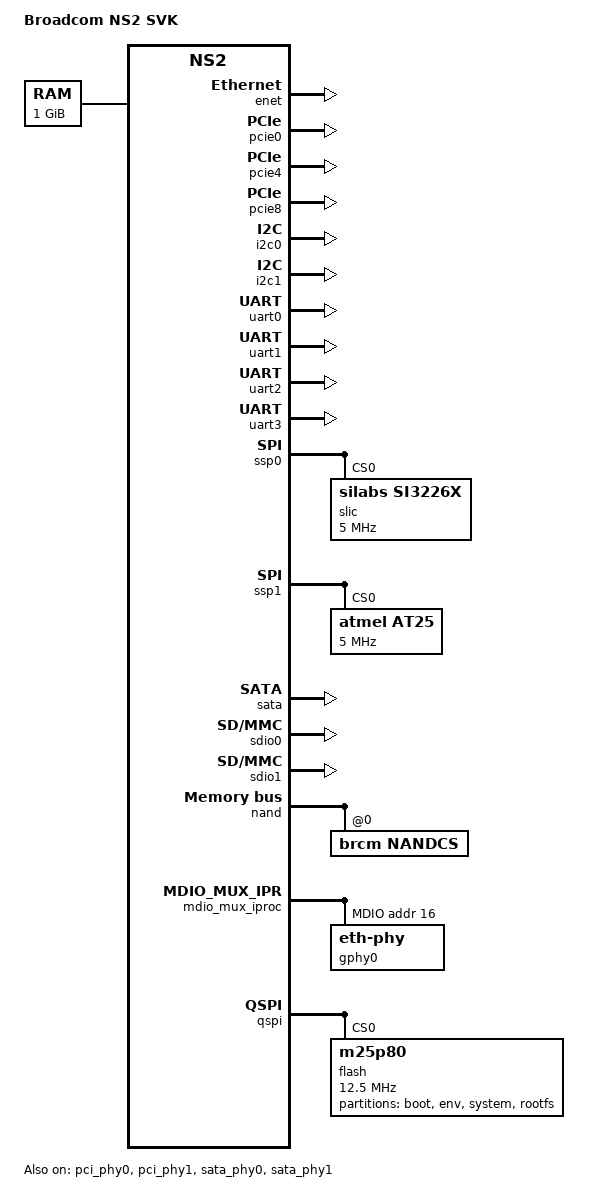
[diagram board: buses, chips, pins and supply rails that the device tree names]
/*
 *  BSD LICENSE
 *
 *  Copyright(c) 2015 Broadcom Corporation.  All rights reserved.
 *
 *  Redistribution and use in source and binary forms, with or without
 *  modification, are permitted provided that the following conditions
 *  are met:
 *
 *    * Redistributions of source code must retain the above copyright
 *      notice, this list of conditions and the following disclaimer.
 *    * Redistributions in binary form must reproduce the above copyright
 *      notice, this list of conditions and the following disclaimer in
 *      the documentation and/or other materials provided with the
 *      distribution.
 *    * Neither the name of Broadcom Corporation nor the names of its
 *      contributors may be used to endorse or promote products derived
 *      from this software without specific prior written permission.
 *
 *  THIS SOFTWARE IS PROVIDED BY THE COPYRIGHT HOLDERS AND CONTRIBUTORS
 *  "AS IS" AND ANY EXPRESS OR IMPLIED WARRANTIES, INCLUDING, BUT NOT
 *  LIMITED TO, THE IMPLIED WARRANTIES OF MERCHANTABILITY AND FITNESS FOR
 *  A PARTICULAR PURPOSE ARE DISCLAIMED. IN NO EVENT SHALL THE COPYRIGHT
 *  OWNER OR CONTRIBUTORS BE LIABLE FOR ANY DIRECT, INDIRECT, INCIDENTAL,
 *  SPECIAL, EXEMPLARY, OR CONSEQUENTIAL DAMAGES (INCLUDING, BUT NOT
 *  LIMITED TO, PROCUREMENT OF SUBSTITUTE GOODS OR SERVICES; LOSS OF USE,
 *  DATA, OR PROFITS; OR BUSINESS INTERRUPTION) HOWEVER CAUSED AND ON ANY
 *  THEORY OF LIABILITY, WHETHER IN CONTRACT, STRICT LIABILITY, OR TORT
 *  (INCLUDING NEGLIGENCE OR OTHERWISE) ARISING IN ANY WAY OUT OF THE USE
 * OF THIS SOFTWARE, EVEN IF ADVISED OF THE POSSIBILITY OF SUCH DAMAGE.
 */

/dts-v1/;

#include "ns2.dtsi"

/ {
	model = "Broadcom NS2 SVK";
	compatible = "brcm,ns2-svk", "brcm,ns2";

	aliases {
		serial0 = &uart3;
		serial1 = &uart0;
		serial2 = &uart1;
		serial3 = &uart2;
	};

	chosen {
		stdout-path = "serial0:115200n8";
		bootargs = "earlycon=uart8250,mmio32,0x66130000";
	};

	memory@80000000 {
		device_type = "memory";
		reg = <0x00000000 0x80000000 0x00000000 0x40000000>;
	};
};

&enet {
	status = "okay";
};

&pci_phy0 {
	status = "okay";
};

&pci_phy1 {
	status = "okay";
};

&pcie0 {
	status = "okay";
};

&pcie4 {
	status = "okay";
};

&pcie8 {
	status = "okay";
};

&i2c0 {
	status = "okay";
};

&i2c1 {
	status = "okay";
};

&uart0 {
	status = "okay";
};

&uart1 {
	status = "okay";
};

&uart2 {
	status = "okay";
};

&uart3 {
	status = "okay";
};

&ssp0 {
	status = "okay";

	slic@0 {
		compatible = "silabs,si3226x";
		reg = <0>;
		spi-max-frequency = <5000000>;
		spi-cpha;
		spi-cpol;
		pl022,interface = <0>;
		pl022,slave-tx-disable = <0>;
		pl022,com-mode = <0>;
		pl022,rx-level-trig = <1>;
		pl022,tx-level-trig = <1>;
		pl022,ctrl-len = <11>;
		pl022,wait-state = <0>;
		pl022,duplex = <0>;
	};
};

&ssp1 {
	status = "okay";

	at25@0 {
		compatible = "atmel,at25";
		reg = <0>;
		spi-max-frequency = <5000000>;
		at25,byte-len = <0x8000>;
		at25,addr-mode = <2>;
		at25,page-size = <64>;
		spi-cpha;
		spi-cpol;
		pl022,interface = <0>;
		pl022,slave-tx-disable = <0>;
		pl022,com-mode = <0>;
		pl022,rx-level-trig = <1>;
		pl022,tx-level-trig = <1>;
		pl022,ctrl-len = <11>;
		pl022,wait-state = <0>;
		pl022,duplex = <0>;
	};
};

&sata_phy0 {
	status = "okay";
};

&sata_phy1 {
	status = "okay";
};

&sata {
	status = "okay";
};

&sdio0 {
	status = "okay";
};

&sdio1 {
	status = "okay";
};

&nand {
	nandcs@0 {
		compatible = "brcm,nandcs";
		reg = <0>;
		nand-ecc-mode = "hw";
		nand-ecc-strength = <8>;
		nand-ecc-step-size = <512>;
		nand-bus-width = <16>;
		brcm,nand-oob-sector-size = <16>;
		#address-cells = <1>;
		#size-cells = <1>;
	};
};

&mdio_mux_iproc {
	mdio@10 {
		gphy0: eth-phy@10 {
			enet-phy-lane-swap;
			reg = <0x10>;
		};
	};
};

&pinctrl {
	pinctrl-names = "default";
	pinctrl-0 = <&nand_sel>;
	nand_sel: nand_sel {
		function = "nand";
		groups = "nand_grp";
	};
};

&qspi {
	bspi-sel = <0>;
	flash: flash@0 {
		#address-cells = <1>;
		#size-cells = <1>;
		compatible = "m25p80";
		reg = <0x0>;
		spi-max-frequency = <12500000>;
		m25p,fast-read;
		spi-cpol;
		spi-cpha;

		partition@0 {
			label = "boot";
			reg = <0x00000000 0x000a0000>;
		};

		partition@a0000 {
			label = "env";
			reg = <0x000a0000 0x00060000>;
		};

		partition@100000 {
			label = "system";
			reg = <0x00100000 0x00600000>;
		};

		partition@700000 {
			label = "rootfs";
			reg = <0x00700000 0x01900000>;
		};
	};
};
